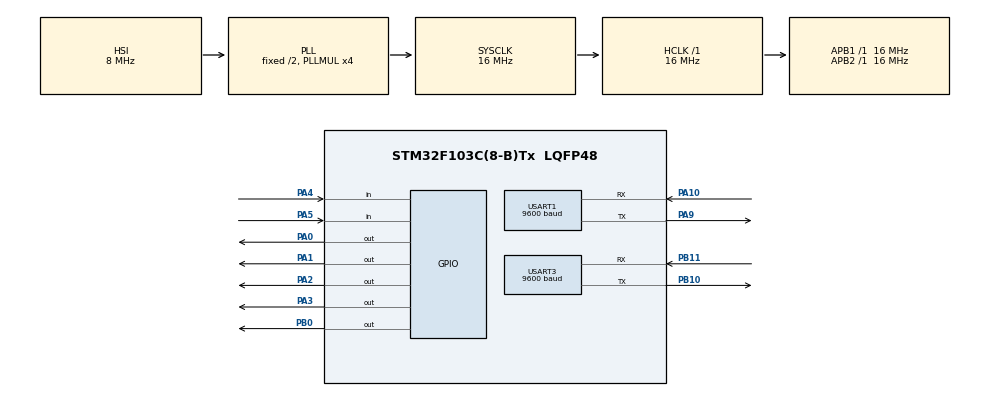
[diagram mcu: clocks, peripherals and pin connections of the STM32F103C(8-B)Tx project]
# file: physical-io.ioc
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Dma.Request0=USART3_RX
Dma.USART3_RX.0.Direction=DMA_PERIPH_TO_MEMORY
Dma.USART3_RX.0.Instance=DMA1_Channel3
Dma.USART3_RX.0.MemDataAlignment=DMA_MDATAALIGN_BYTE
Dma.USART3_RX.0.MemInc=DMA_MINC_ENABLE
Dma.USART3_RX.0.Mode=DMA_CIRCULAR
Dma.USART3_RX.0.PeriphDataAlignment=DMA_PDATAALIGN_BYTE
Dma.USART3_RX.0.PeriphInc=DMA_PINC_DISABLE
Dma.USART3_RX.0.Priority=DMA_PRIORITY_HIGH
FREERTOS.Queues01=cmd_q,10,cmd_t,0,Dynamic,NULL,NULL
FREERTOS.Tasks01=triggerup_task,49,128,trigger_uplink_handler,Default,NULL,Dynamic,NULL,NULL;rs485_task,49,128,rs485_handler,Default,NULL,Dynamic,NULL,NULL;btn_task,49,128,btn_handler,Default,NULL,Dynamic,NULL,NULL
FREERTOS.configTICK_RATE_HZ=100
Mcu.Family=STM32F1
Mcu.Name=STM32F103C(8-B)Tx
Mcu.Package=LQFP48
NVIC.DMA1_Channel3_IRQn=true\:5\:0\:false\:false\:true\:true\:false\:true
NVIC.PriorityGroup=NVIC_PRIORITYGROUP_4
PA0-WKUP.GPIO_PuPd=GPIO_PULLUP
PA0-WKUP.PinState=GPIO_PIN_RESET
PA0-WKUP.Signal=GPIO_Output
PA1.GPIO_PuPd=GPIO_PULLUP
PA1.PinState=GPIO_PIN_RESET
PA1.Signal=GPIO_Output
PA10.Mode=Asynchronous
PA10.Signal=USART1_RX
PA2.GPIO_PuPd=GPIO_PULLUP
PA2.PinState=GPIO_PIN_RESET
PA2.Signal=GPIO_Output
PA3.GPIO_PuPd=GPIO_PULLUP
PA3.PinState=GPIO_PIN_RESET
PA3.Signal=GPIO_Output
PA4.GPIO_PuPd=GPIO_PULLDOWN
PA4.Signal=GPIO_Input
PA5.GPIO_PuPd=GPIO_PULLDOWN
PA5.Signal=GPIO_Input
PA9.Mode=Asynchronous
PA9.Signal=USART1_TX
PB0.GPIO_ModeDefaultOutputPP=GPIO_MODE_OUTPUT_OD
PB0.PinState=GPIO_PIN_RESET
PB0.Signal=GPIO_Output
PB10.Mode=Asynchronous
PB10.Signal=USART3_TX
PB11.Mode=Asynchronous
PB11.Signal=USART3_RX
PD0-OSC_IN.Mode=HSE-External-Oscillator
PD0-OSC_IN.Signal=RCC_OSC_IN
PD1-OSC_OUT.Mode=HSE-External-Oscillator
PD1-OSC_OUT.Signal=RCC_OSC_OUT
ProjectManager.HeapSize=0x200
ProjectManager.StackSize=0x400
ProjectManager.TargetToolchain=STM32CubeIDE
RCC.AHBFreq_Value=16000000
RCC.APB1Freq_Value=16000000
RCC.APB1TimFreq_Value=16000000
RCC.APB2Freq_Value=16000000
RCC.APB2TimFreq_Value=16000000
RCC.HCLKFreq_Value=16000000
RCC.PLLMUL=RCC_PLL_MUL4
RCC.SYSCLKFreq_VALUE=16000000
RCC.SYSCLKSource=RCC_SYSCLKSOURCE_PLLCLK
RCC.USBFreq_Value=16000000
USART1.BaudRate=9600
USART1.VirtualMode=VM_ASYNC
USART3.BaudRate=9600
USART3.VirtualMode=VM_ASYNC
VP_FREERTOS_VS_CMSIS_V2.Mode=CMSIS_V2
VP_SYS_VS_ND.Mode=No_Debug
board=custom

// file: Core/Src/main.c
/* USER CODE BEGIN Header */
/**
  ******************************************************************************
  * @file           : main.c
  * @brief          : Main program body
  ******************************************************************************
  * @attention
  *
  * <h2><center>&copy; Copyright (c) 2022 STMicroelectronics.
  * All rights reserved.</center></h2>
  *
  * This software component is licensed by ST under BSD 3-Clause license,
  * the "License"; You may not use this file except in compliance with the
  * License. You may obtain a copy of the License at:
  *                        opensource.org/licenses/BSD-3-Clause
  *
  ******************************************************************************
  */
/* USER CODE END Header */
#include "main.h"
#include "cmsis_os.h"

/* USER CODE BEGIN Includes */
#include "btn_matrix.h"
#include "rs485.h"
/* USER CODE END Includes */

UART_HandleTypeDef huart1;
UART_HandleTypeDef huart3;
DMA_HandleTypeDef hdma_usart3_rx;

/* Definitions for triggerup_task */
osThreadId_t triggerup_taskHandle;
const osThreadAttr_t triggerup_task_attributes = {
  .name = "triggerup_task",
  .stack_size = 128 * 4,
  .priority = (osPriority_t) osPriorityRealtime1,
};
/* Definitions for rs485_task */
osThreadId_t rs485_taskHandle;
const osThreadAttr_t rs485_task_attributes = {
  .name = "rs485_task",
  .stack_size = 128 * 4,
  .priority = (osPriority_t) osPriorityRealtime1,
};
/* Definitions for btn_task */
osThreadId_t btn_taskHandle;
const osThreadAttr_t btn_task_attributes = {
  .name = "btn_task",
  .stack_size = 128 * 4,
  .priority = (osPriority_t) osPriorityRealtime1,
};
/* Definitions for cmd_q */
osMessageQueueId_t cmd_qHandle;
const osMessageQueueAttr_t cmd_q_attributes = {
  .name = "cmd_q"
};

void SystemClock_Config(void);
static void MX_GPIO_Init(void);
static void MX_DMA_Init(void);
static void MX_USART1_UART_Init(void);
static void MX_USART3_UART_Init(void);
void trigger_uplink_handler(void *argument);
void rs485_handler(void *argument);
void btn_handler(void *argument);

int main(void)
{

  /* MCU Configuration--------------------------------------------------------*/

  /* Reset of all peripherals, Initializes the Flash interface and the Systick. */
  HAL_Init();

  /* Configure the system clock */
  SystemClock_Config();

  /* Initialize all configured peripherals */
  MX_GPIO_Init();
  MX_DMA_Init();
  MX_USART1_UART_Init();
  MX_USART3_UART_Init();
  /* USER CODE BEGIN 2 */
  btn_matrix_init();
  rs485_init(&huart3);
  /* USER CODE END 2 */

  /* Init scheduler */
  osKernelInitialize();

  /* Create the queue(s) */
  /* creation of cmd_q */
  cmd_qHandle = osMessageQueueNew (10, sizeof(cmd_t), &cmd_q_attributes);

  /* Create the thread(s) */
  /* creation of triggerup_task */
  triggerup_taskHandle = osThreadNew(trigger_uplink_handler, NULL, &triggerup_task_attributes);

  /* creation of rs485_task */
  rs485_taskHandle = osThreadNew(rs485_handler, NULL, &rs485_task_attributes);

  /* creation of btn_task */
  btn_taskHandle = osThreadNew(btn_handler, NULL, &btn_task_attributes);

  /* Start scheduler */
  osKernelStart();

  /* We should never get here as control is now taken by the scheduler */
  /* Infinite loop */
  while (1)
  {

  }
}

void SystemClock_Config(void)
{
  RCC_OscInitTypeDef RCC_OscInitStruct = {0};
  RCC_ClkInitTypeDef RCC_ClkInitStruct = {0};

  /** Initializes the RCC Oscillators according to the specified parameters
  * in the RCC_OscInitTypeDef structure.
  */
  RCC_OscInitStruct.OscillatorType = RCC_OSCILLATORTYPE_HSI;
  RCC_OscInitStruct.HSIState = RCC_HSI_ON;
  RCC_OscInitStruct.HSICalibrationValue = RCC_HSICALIBRATION_DEFAULT;
  RCC_OscInitStruct.PLL.PLLState = RCC_PLL_ON;
  RCC_OscInitStruct.PLL.PLLSource = RCC_PLLSOURCE_HSI_DIV2;
  RCC_OscInitStruct.PLL.PLLMUL = RCC_PLL_MUL4;
  if (HAL_RCC_OscConfig(&RCC_OscInitStruct) != HAL_OK)
  {
    Error_Handler();
  }
  /** Initializes the CPU, AHB and APB buses clocks
  */
  RCC_ClkInitStruct.ClockType = RCC_CLOCKTYPE_HCLK|RCC_CLOCKTYPE_SYSCLK
                              |RCC_CLOCKTYPE_PCLK1|RCC_CLOCKTYPE_PCLK2;
  RCC_ClkInitStruct.SYSCLKSource = RCC_SYSCLKSOURCE_PLLCLK;
  RCC_ClkInitStruct.AHBCLKDivider = RCC_SYSCLK_DIV1;
  RCC_ClkInitStruct.APB1CLKDivider = RCC_HCLK_DIV1;
  RCC_ClkInitStruct.APB2CLKDivider = RCC_HCLK_DIV1;

  if (HAL_RCC_ClockConfig(&RCC_ClkInitStruct, FLASH_LATENCY_0) != HAL_OK)
  {
    Error_Handler();
  }
}

static void MX_USART1_UART_Init(void)
{

  huart1.Instance = USART1;
  huart1.Init.BaudRate = 9600;
  huart1.Init.WordLength = UART_WORDLENGTH_8B;
  huart1.Init.StopBits = UART_STOPBITS_1;
  huart1.Init.Parity = UART_PARITY_NONE;
  huart1.Init.Mode = UART_MODE_TX_RX;
  huart1.Init.HwFlowCtl = UART_HWCONTROL_NONE;
  huart1.Init.OverSampling = UART_OVERSAMPLING_16;
  if (HAL_UART_Init(&huart1) != HAL_OK)
  {
    Error_Handler();
  }

}

static void MX_USART3_UART_Init(void)
{

  huart3.Instance = USART3;
  huart3.Init.BaudRate = 9600;
  huart3.Init.WordLength = UART_WORDLENGTH_8B;
  huart3.Init.StopBits = UART_STOPBITS_1;
  huart3.Init.Parity = UART_PARITY_NONE;
  huart3.Init.Mode = UART_MODE_TX_RX;
  huart3.Init.HwFlowCtl = UART_HWCONTROL_NONE;
  huart3.Init.OverSampling = UART_OVERSAMPLING_16;
  if (HAL_UART_Init(&huart3) != HAL_OK)
  {
    Error_Handler();
  }

}

static void MX_DMA_Init(void)
{

  /* DMA controller clock enable */
  __HAL_RCC_DMA1_CLK_ENABLE();

  /* DMA interrupt init */
  /* DMA1_Channel3_IRQn interrupt configuration */
  HAL_NVIC_SetPriority(DMA1_Channel3_IRQn, 5, 0);
  HAL_NVIC_EnableIRQ(DMA1_Channel3_IRQn);

}

static void MX_GPIO_Init(void)
{
  GPIO_InitTypeDef GPIO_InitStruct = {0};

  /* GPIO Ports Clock Enable */
  __HAL_RCC_GPIOD_CLK_ENABLE();
  __HAL_RCC_GPIOA_CLK_ENABLE();
  __HAL_RCC_GPIOB_CLK_ENABLE();

  /*Configure GPIO pin Output Level */
  HAL_GPIO_WritePin(GPIOA, GPIO_PIN_0|GPIO_PIN_1|GPIO_PIN_2|GPIO_PIN_3, GPIO_PIN_RESET);

  /*Configure GPIO pin Output Level */
  HAL_GPIO_WritePin(GPIOB, GPIO_PIN_0, GPIO_PIN_RESET);

  /*Configure GPIO pins : PA0 PA1 PA2 PA3 */
  GPIO_InitStruct.Pin = GPIO_PIN_0|GPIO_PIN_1|GPIO_PIN_2|GPIO_PIN_3;
  GPIO_InitStruct.Mode = GPIO_MODE_OUTPUT_PP;
  GPIO_InitStruct.Pull = GPIO_PULLUP;
  GPIO_InitStruct.Speed = GPIO_SPEED_FREQ_LOW;
  HAL_GPIO_Init(GPIOA, &GPIO_InitStruct);

  /*Configure GPIO pins : PA4 PA5 */
  GPIO_InitStruct.Pin = GPIO_PIN_4|GPIO_PIN_5;
  GPIO_InitStruct.Mode = GPIO_MODE_INPUT;
  GPIO_InitStruct.Pull = GPIO_PULLDOWN;
  HAL_GPIO_Init(GPIOA, &GPIO_InitStruct);

  /*Configure GPIO pin : PB0 */
  GPIO_InitStruct.Pin = GPIO_PIN_0;
  GPIO_InitStruct.Mode = GPIO_MODE_OUTPUT_OD;
  GPIO_InitStruct.Pull = GPIO_NOPULL;
  GPIO_InitStruct.Speed = GPIO_SPEED_FREQ_LOW;
  HAL_GPIO_Init(GPIOB, &GPIO_InitStruct);

}

/* USER CODE BEGIN 4 */
uint8_t trigger_uplink_flag = 0;
/* USER CODE END 4 */

void trigger_uplink_handler(void *argument)
{
  /* USER CODE BEGIN 5 */
  /* Infinite loop */
  for(;;)
  {
	  if (trigger_uplink_flag == 1) {
		  HAL_GPIO_WritePin(GPIOB, GPIO_PIN_0, GPIO_PIN_RESET);
		  osDelay(pdMS_TO_TICKS(1100));
		  HAL_GPIO_WritePin(GPIOB, GPIO_PIN_0, GPIO_PIN_SET);
		  trigger_uplink_flag = 0;
	  }
  }
  /* USER CODE END 5 */
}

void rs485_handler(void *argument)
{
  /* USER CODE BEGIN rs485_handler */
  /* Infinite loop */
	buffer_byte_t send_buffer;
	cmd_t cmd;

	uint32_t curr_tick;

  for(;;)
  {
	  if (osMessageQueueGet(cmd_qHandle, &cmd, NULL, 0) == osOK) {
		  //osThreadSetPriority(rs485_taskHandle, osPriorityRealtime2);
		  //osThreadSetPriority(rs485_taskHandle, osPriorityRealtime1);

		  //AT CMD
		  /*
		  buffer = rs485_compose_at_pwd();
		  rs485_send(&buffer);
		  osDelay(pdMS_TO_TICKS(100));

		  buffer = rs485_compose_at_cmd(&cmd);
		  rs485_send(&buffer);
		  osDelay(pdMS_TO_TICKS(500));
		   */

		  //RS485
		  send_buffer = rs485_compose(&cmd);
		  rs485_recv_buffer_clear();
		  curr_tick = osKernelGetSysTimerCount();

		  while (osKernelGetSysTimerCount() - curr_tick < RS485_WAIT_PERIOD) {
			  if (!rs485_recv_buffer_compare()) {
				  rs485_recv_buffer_clear();
				  curr_tick = osKernelGetSysTimerCount();
			  }
		  }

		  rs485_send(&send_buffer);
		  trigger_uplink_flag = 1;
	  }
  }
  /* USER CODE END rs485_handler */
}

void btn_handler(void *argument)
{
  /* USER CODE BEGIN btn_handler */
  /* Infinite loop */
  for(;;)
  {
	  for (uint8_t row = 0; row < ROW_LEN; row++) {
		  for (uint8_t col = 0; col < COL_LEN; col++) {
			  cmd_t *curr_cmd = btn_matrix_read(row, col);
			  if (curr_cmd != NULL) {
				  osMessageQueuePut(cmd_qHandle, (void *)curr_cmd, 1, 0);
			  }
		  }
	  }

	  osDelay(pdMS_TO_TICKS(DEBOUNCE_INTERVAL));
  }
  /* USER CODE END btn_handler */
}

void Error_Handler(void)
{
  __disable_irq();
  while (1)
  {
  }
}

/************************ (C) COPYRIGHT STMicroelectronics *****END OF FILE****/
